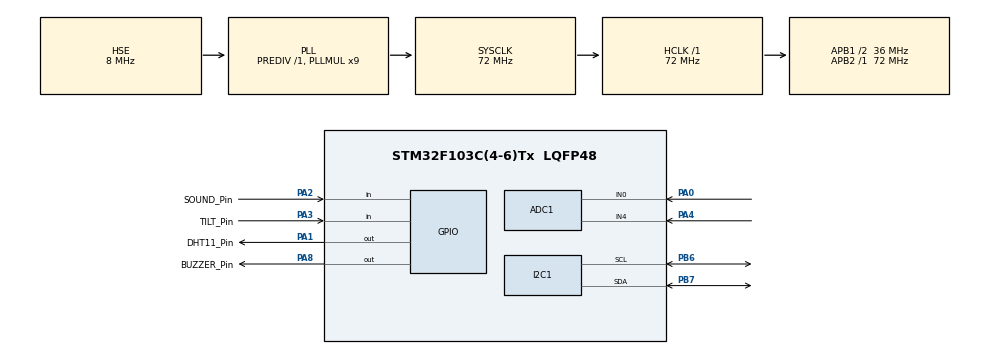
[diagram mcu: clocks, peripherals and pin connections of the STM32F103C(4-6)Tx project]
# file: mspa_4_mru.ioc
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ADC1.Channel-0\#ChannelRegularConversion=ADC_CHANNEL_0
ADC1.NbrOfConversion=1
ADC1.NbrOfConversionFlag=1
ADC1.Rank-0\#ChannelRegularConversion=1
ADC1.SamplingTime-0\#ChannelRegularConversion=ADC_SAMPLETIME_1CYCLE_5
ADC1.master=1
Mcu.Family=STM32F1
Mcu.Name=STM32F103C(4-6)Tx
Mcu.Package=LQFP48
NVIC.PriorityGroup=NVIC_PRIORITYGROUP_4
PA0-WKUP.Signal=ADCx_IN0
PA1.GPIO_Label=DHT11_Pin
PA1.Signal=GPIO_Output
PA13.Mode=Serial_Wire
PA13.Signal=SYS_JTMS-SWDIO
PA14.Mode=Serial_Wire
PA14.Signal=SYS_JTCK-SWCLK
PA2.GPIO_Label=SOUND_Pin
PA2.Signal=GPIO_Input
PA3.GPIO_Label=TILT_Pin
PA3.Signal=GPIO_Input
PA4.Signal=ADCx_IN4
PA8.GPIO_Label=BUZZER_Pin
PA8.Signal=GPIO_Output
PB6.Mode=I2C
PB6.Signal=I2C1_SCL
PB7.Mode=I2C
PB7.Signal=I2C1_SDA
PD0-OSC_IN.Mode=HSE-External-Oscillator
PD0-OSC_IN.Signal=RCC_OSC_IN
PD1-OSC_OUT.Mode=HSE-External-Oscillator
PD1-OSC_OUT.Signal=RCC_OSC_OUT
ProjectManager.HeapSize=0x200
ProjectManager.StackSize=0x400
ProjectManager.TargetToolchain=STM32CubeIDE
RCC.ADCPresc=RCC_ADCPCLK2_DIV6
RCC.AHBFreq_Value=72000000
RCC.APB1CLKDivider=RCC_HCLK_DIV2
RCC.APB1Freq_Value=36000000
RCC.APB1TimFreq_Value=72000000
RCC.APB2Freq_Value=72000000
RCC.APB2TimFreq_Value=72000000
RCC.HCLKFreq_Value=72000000
RCC.PLLMUL=RCC_PLL_MUL9
RCC.PLLSourceVirtual=RCC_PLLSOURCE_HSE
RCC.SYSCLKFreq_VALUE=72000000
RCC.SYSCLKSource=RCC_SYSCLKSOURCE_PLLCLK
RCC.USBFreq_Value=72000000
SH.ADCx_IN0.0=ADC1_IN0,IN0
SH.ADCx_IN4.0=ADC1_IN4,IN4
TIM2.Prescaler=71
VP_TIM2_VS_ClockSourceINT.Mode=Internal
board=custom

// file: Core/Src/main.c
/* USER CODE BEGIN Header */
/**
  ******************************************************************************
  * @file           : main.c
  * @brief          : Main program body
  ******************************************************************************
  * @attention
  *
  * Copyright (c) 2026 STMicroelectronics.
  * All rights reserved.
  *
  * This software is licensed under terms that can be found in the LICENSE file
  * in the root directory of this software component.
  * If no LICENSE file comes with this software, it is provided AS-IS.
  *
  ******************************************************************************
  */
/* USER CODE END Header */
#include "main.h"
#include "adc.h"
#include "i2c.h"
#include "tim.h"
#include "gpio.h"

/* USER CODE BEGIN Includes */

#include <stdio.h>
#include "ssd1306.h"
#include "ssd1306_fonts.h"

/* USER CODE END Includes */

/* USER CODE BEGIN PV */

char msg[32];

/* USER CODE END PV */

void SystemClock_Config(void);
/* USER CODE BEGIN PFP */

void delay_us(uint16_t us);
void Set_DHT11_Pin_Output(void);
void Set_DHT11_Pin_Input(void);
void DHT11_Start(void);
uint8_t DHT11_CheckResponse(void);
uint8_t DHT11_ReadByte(void);

uint16_t Read_ADC_Channel(uint32_t channel);
void Buzzer_On(void);
void Buzzer_Off(void);

/* USER CODE END PFP */

int main(void)
{

  /* MCU Configuration--------------------------------------------------------*/

  /* Reset of all peripherals, Initializes the Flash interface and the Systick. */
  HAL_Init();

  /* Configure the system clock */
  SystemClock_Config();

  /* Initialize all configured peripherals */
  MX_GPIO_Init();
  MX_ADC1_Init();
  MX_I2C1_Init();
  MX_TIM2_Init();
  /* USER CODE BEGIN 2 */

  /* USER CODE BEGIN 2 */

  HAL_TIM_Base_Start(&htim2);

  ssd1306_Init();
  ssd1306_Fill(Black);
  ssd1306_SetCursor(10, 10);
  ssd1306_WriteString("MSPA-4 PROJECT", Font_7x10, White);
  ssd1306_SetCursor(20, 30);
  ssd1306_WriteString("Starting...", Font_7x10, White);
  ssd1306_UpdateScreen();
  HAL_Delay(1000);

  /* USER CODE END 2 */

  /* USER CODE END 2 */

  /* Infinite loop */
  /* USER CODE BEGIN WHILE */
  while (1)
  {
      static uint32_t lastDhtRead = 0;

      /* Read DHT11 only every 1500 ms */
      if (HAL_GetTick() - lastDhtRead >= 1500)
      {
          lastDhtRead = HAL_GetTick();

          DHT11_Start();
          if (DHT11_CheckResponse())
          {
              Rh_byte1   = DHT11_ReadByte();
              Rh_byte2   = DHT11_ReadByte();
              Temp_byte1 = DHT11_ReadByte();
              Temp_byte2 = DHT11_ReadByte();
              SUM        = DHT11_ReadByte();

              CHECK = Rh_byte1 + Rh_byte2 + Temp_byte1 + Temp_byte2;

              if (CHECK == SUM)
              {
                  humidity = (float)Rh_byte1;
                  temperature = (float)Temp_byte1;
              }
          }
      }

      /* Fast sensors: update every loop */
      ldrValue   = Read_ADC_Channel(ADC_CHANNEL_0);   // PA0 = LDR
      heartValue = Read_ADC_Channel(ADC_CHANNEL_4);   // PA4 = Heartbeat

      soundState = HAL_GPIO_ReadPin(GPIOA, GPIO_PIN_2);   // PA2 = Sound
      tiltState  = HAL_GPIO_ReadPin(GPIOA, GPIO_PIN_3);   // PA3 = Tilt

      /* Alert logic */
      alert = 0;

      if (temperature > 35.0f)
          alert = 1;

      if (soundState == GPIO_PIN_RESET)
          alert = 1;

      if (tiltState == GPIO_PIN_RESET)
          alert = 1;

      if (ldrValue < 300 || ldrValue > 3500)
          alert = 1;

      if (heartValue > 3000)
          alert = 1;

      if (alert)
          Buzzer_On();
      else
          Buzzer_Off();

      /* OLED display */
      ssd1306_Fill(Black);

      sprintf(msg, "T:%.0fC H:%.0f%%", temperature, humidity);
      ssd1306_SetCursor(0, 0);
      ssd1306_WriteString(msg, Font_7x10, White);

      sprintf(msg, "LDR:%4d", ldrValue);
      ssd1306_SetCursor(0, 12);
      ssd1306_WriteString(msg, Font_7x10, White);

      sprintf(msg, "SND:%s", (soundState == GPIO_PIN_RESET) ? "DET" : "OK");
      ssd1306_SetCursor(0, 24);
      ssd1306_WriteString(msg, Font_7x10, White);

      sprintf(msg, "TILT:%s", (tiltState == GPIO_PIN_RESET) ? "YES" : "NO");
      ssd1306_SetCursor(0, 36);
      ssd1306_WriteString(msg, Font_7x10, White);

      sprintf(msg, "HB:%4d", heartValue);
      ssd1306_SetCursor(0, 48);
      ssd1306_WriteString(msg, Font_7x10, White);

      ssd1306_UpdateScreen();

      HAL_Delay(100);   // fast refresh
  }

  /* USER CODE END 3 */
}

void SystemClock_Config(void)
{
  RCC_OscInitTypeDef RCC_OscInitStruct = {0};
  RCC_ClkInitTypeDef RCC_ClkInitStruct = {0};
  RCC_PeriphCLKInitTypeDef PeriphClkInit = {0};

  /** Initializes the RCC Oscillators according to the specified parameters
  * in the RCC_OscInitTypeDef structure.
  */
  RCC_OscInitStruct.OscillatorType = RCC_OSCILLATORTYPE_HSE;
  RCC_OscInitStruct.HSEState = RCC_HSE_ON;
  RCC_OscInitStruct.HSEPredivValue = RCC_HSE_PREDIV_DIV1;
  RCC_OscInitStruct.HSIState = RCC_HSI_ON;
  RCC_OscInitStruct.PLL.PLLState = RCC_PLL_ON;
  RCC_OscInitStruct.PLL.PLLSource = RCC_PLLSOURCE_HSE;
  RCC_OscInitStruct.PLL.PLLMUL = RCC_PLL_MUL9;
  if (HAL_RCC_OscConfig(&RCC_OscInitStruct) != HAL_OK)
  {
    Error_Handler();
  }

  /** Initializes the CPU, AHB and APB buses clocks
  */
  RCC_ClkInitStruct.ClockType = RCC_CLOCKTYPE_HCLK|RCC_CLOCKTYPE_SYSCLK
                              |RCC_CLOCKTYPE_PCLK1|RCC_CLOCKTYPE_PCLK2;
  RCC_ClkInitStruct.SYSCLKSource = RCC_SYSCLKSOURCE_PLLCLK;
  RCC_ClkInitStruct.AHBCLKDivider = RCC_SYSCLK_DIV1;
  RCC_ClkInitStruct.APB1CLKDivider = RCC_HCLK_DIV2;
  RCC_ClkInitStruct.APB2CLKDivider = RCC_HCLK_DIV1;

  if (HAL_RCC_ClockConfig(&RCC_ClkInitStruct, FLASH_LATENCY_2) != HAL_OK)
  {
    Error_Handler();
  }
  PeriphClkInit.PeriphClockSelection = RCC_PERIPHCLK_ADC;
  PeriphClkInit.AdcClockSelection = RCC_ADCPCLK2_DIV6;
  if (HAL_RCCEx_PeriphCLKConfig(&PeriphClkInit) != HAL_OK)
  {
    Error_Handler();
  }
}

/* USER CODE BEGIN 4 */

uint16_t Read_ADC_Channel(uint32_t channel)
{
  ADC_ChannelConfTypeDef sConfig = {0};

  sConfig.Channel = channel;
  sConfig.Rank = ADC_REGULAR_RANK_1;
  sConfig.SamplingTime = ADC_SAMPLETIME_239CYCLES_5;

  HAL_ADC_ConfigChannel(&hadc1, &sConfig);
  HAL_ADC_Start(&hadc1);
  HAL_ADC_PollForConversion(&hadc1, 100);
  uint16_t value = HAL_ADC_GetValue(&hadc1);
  HAL_ADC_Stop(&hadc1);

  return value;
}

void Buzzer_On(void)
{
  HAL_GPIO_WritePin(GPIOA, GPIO_PIN_8, GPIO_PIN_SET);
}

void Buzzer_Off(void)
{
  HAL_GPIO_WritePin(GPIOA, GPIO_PIN_8, GPIO_PIN_RESET);
}

void delay_us(uint16_t us)
{
  __HAL_TIM_SET_COUNTER(&htim2, 0);
  while (__HAL_TIM_GET_COUNTER(&htim2) < us);
}

void Set_DHT11_Pin_Output(void)
{
  GPIO_InitTypeDef GPIO_InitStruct = {0};
  GPIO_InitStruct.Pin = GPIO_PIN_1;
  GPIO_InitStruct.Mode = GPIO_MODE_OUTPUT_PP;
  GPIO_InitStruct.Speed = GPIO_SPEED_FREQ_LOW;
  HAL_GPIO_Init(GPIOA, &GPIO_InitStruct);
}

void Set_DHT11_Pin_Input(void)
{
  GPIO_InitTypeDef GPIO_InitStruct = {0};
  GPIO_InitStruct.Pin = GPIO_PIN_1;
  GPIO_InitStruct.Mode = GPIO_MODE_INPUT;
  GPIO_InitStruct.Pull = GPIO_NOPULL;
  HAL_GPIO_Init(GPIOA, &GPIO_InitStruct);
}

void DHT11_Start(void)
{
  Set_DHT11_Pin_Output();
  HAL_GPIO_WritePin(GPIOA, GPIO_PIN_1, GPIO_PIN_RESET);
  HAL_Delay(18);
  HAL_GPIO_WritePin(GPIOA, GPIO_PIN_1, GPIO_PIN_SET);
  delay_us(30);
  Set_DHT11_Pin_Input();
}

uint8_t DHT11_CheckResponse(void)
{
  uint8_t Response = 0;
  delay_us(40);

  if (HAL_GPIO_ReadPin(GPIOA, GPIO_PIN_1) == GPIO_PIN_RESET)
  {
    delay_us(80);
    if (HAL_GPIO_ReadPin(GPIOA, GPIO_PIN_1) == GPIO_PIN_SET)
      Response = 1;
  }

  while (HAL_GPIO_ReadPin(GPIOA, GPIO_PIN_1) == GPIO_PIN_SET);
  return Response;
}

uint8_t DHT11_ReadByte(void)
{
  uint8_t i, j = 0;

  for (i = 0; i < 8; i++)
  {
    while (HAL_GPIO_ReadPin(GPIOA, GPIO_PIN_1) == GPIO_PIN_RESET);
    delay_us(40);

    if (HAL_GPIO_ReadPin(GPIOA, GPIO_PIN_1) == GPIO_PIN_RESET)
    {
      j &= ~(1 << (7 - i));
    }
    else
    {
      j |= (1 << (7 - i));
      while (HAL_GPIO_ReadPin(GPIOA, GPIO_PIN_1) == GPIO_PIN_SET);
    }
  }
  return j;
}

/* USER CODE END 4 */

void Error_Handler(void)
{
  __disable_irq();
  while (1)
  {
  }
}
